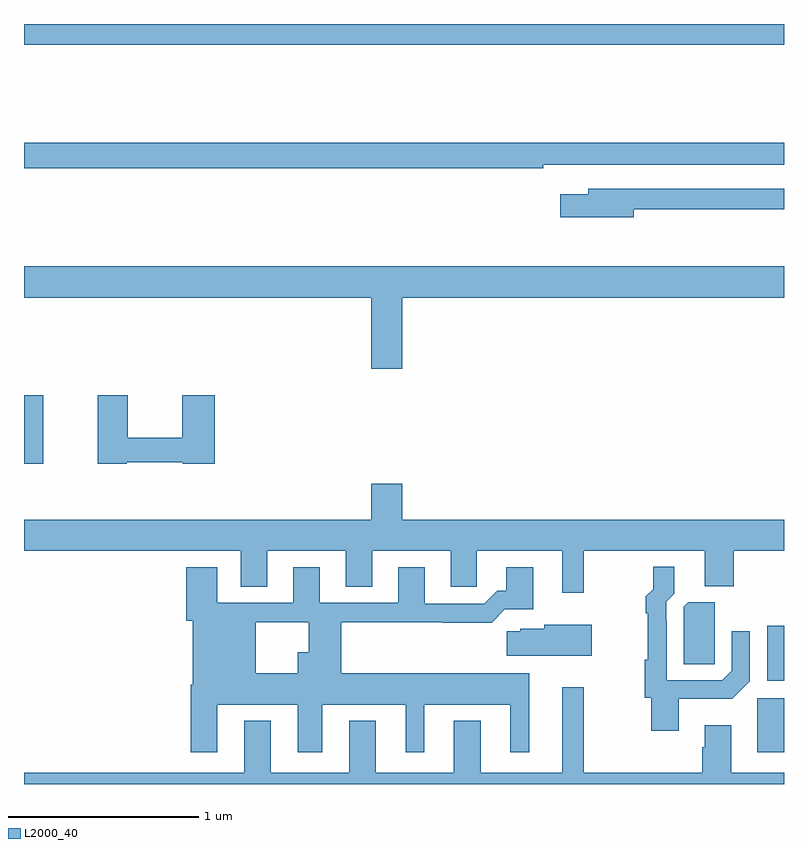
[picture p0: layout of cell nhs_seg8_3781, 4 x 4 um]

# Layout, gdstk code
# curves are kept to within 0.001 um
import gdstk
lib = gdstk.Library(unit=1e-6, precision=1e-09)
def R(c, l, rs):  # rectangles x0, y0, x1, y1
    for r in rs: c.add(gdstk.rectangle(r[:2], r[2:], *l))
def P(c, l, *ps):  # polygons
    for p in ps: c.add(gdstk.Polygon(p, *l))
L2000_40 = (2000, 40)

nhs_seg8_3781 = lib.new_cell('nhs_seg8_3781')
R(nhs_seg8_3781, L2000_40, [(346.859,1154.067,347,1154.352), (346.913,1154.444,347,1154.734), (343,1155.586,343.102,1155.946), (343,1157.792,347,1157.9)])
P(nhs_seg8_3781, L2000_40, [(345.734,1157.16),(347,1157.16),(347,1157.276),(343,1157.276),(343,1157.14),(345.734,1157.14)],
  [(346.21,1156.926),(347,1156.926),(347,1157.034),(345.971,1157.034),(345.971,1157.005),(345.822,1157.005),(345.822,1156.883),(346.21,1156.883)],
  [(344.992,1156.46),(347,1156.46),(347,1156.624),(343,1156.624),(343,1156.46),(344.828,1156.46),(344.828,1156.086),(344.992,1156.086)],
  [(343.542,1155.594),(343.836,1155.594),(343.836,1155.586),(344.003,1155.586),(344.003,1155.946),(343.832,1155.946),(343.832,1155.722),(343.546,1155.722),(343.546,1155.946),(343.388,1155.946),(343.388,1155.586),(343.542,1155.586)],
  [(345.947,1155.128),(346.583,1155.128),(346.583,1154.941),(346.736,1154.941),(346.736,1155.128),(347,1155.128),(347,1155.292),(344.992,1155.292),(344.992,1155.481),(344.828,1155.481),(344.828,1155.292),(343,1155.292),(343,1155.128),(344.141,1155.128),(344.141,1154.938),(344.281,1154.938),(344.281,1155.128),(344.693,1155.128),(344.693,1154.938),(344.833,1154.938),(344.833,1155.128),(345.245,1155.128),(345.245,1154.938),(345.384,1154.938),(345.384,1155.128),(345.833,1155.128),(345.833,1154.907),(345.947,1154.907)],
  [(346.447,1154.348),(346.727,1154.348),(346.821,1154.442),(346.821,1154.704),(346.725,1154.704),(346.725,1154.496),(346.674,1154.445),(346.383,1154.445),(346.383,1154.759),(346.38,1154.759),(346.38,1154.859),(346.423,1154.902),(346.423,1155.043),(346.311,1155.043),(346.311,1154.926),(346.272,1154.888),(346.272,1154.798),(346.282,1154.798),(346.282,1154.555),(346.267,1154.555),(346.267,1154.355),(346.3,1154.355),(346.3,1154.181),(346.447,1154.181)],
  [(343.877,1154.422),(343.877,1154.067),(344.017,1154.067),(344.017,1154.318),(344.441,1154.318),(344.441,1154.067),(344.569,1154.067),(344.569,1154.318),(345.008,1154.318),(345.008,1154.067),(345.106,1154.067),(345.106,1154.318),(345.56,1154.318),(345.56,1154.067),(345.658,1154.067),(345.658,1154.482),(344.669,1154.482),(344.669,1154.752),(345.205,1154.752),(345.205,1154.75),(345.461,1154.75),(345.531,1154.82),(345.679,1154.82),(345.679,1155.04),(345.539,1155.04),(345.539,1154.917),(345.49,1154.917),(345.423,1154.85),(345.109,1154.85),(345.109,1155.04),(344.969,1155.04),(344.969,1154.853),(344.557,1154.853),(344.557,1155.04),(344.417,1155.04),(344.417,1154.853),(344.017,1154.853),(344.017,1155.04),(343.853,1155.04),(343.853,1154.76),(343.889,1154.76),(343.889,1154.482),(344.221,1154.482),(344.221,1154.752),(344.498,1154.752),(344.498,1154.593),(344.441,1154.593),(344.441,1154.482),(343.889,1154.482),(343.889,1154.422)],
  [(346.635,1154.641),(346.636,1154.641),(346.636,1154.856),(346.497,1154.856),(346.473,1154.832),(346.473,1154.53),(346.635,1154.53)],
  [(345.988,1154.737),(345.738,1154.737),(345.738,1154.716),(345.612,1154.716),(345.612,1154.705),(345.54,1154.705),(345.54,1154.576),(345.988,1154.576)],
  [(347,1153.96),(346.723,1153.96),(346.723,1154.209),(346.583,1154.209),(346.583,1154.093),(346.571,1154.093),(346.571,1153.96),(345.947,1153.96),(345.947,1154.41),(345.833,1154.41),(345.833,1153.96),(345.403,1153.96),(345.403,1154.233),(345.263,1154.233),(345.263,1153.96),(344.851,1153.96),(344.851,1154.233),(344.711,1154.233),(344.711,1153.96),(344.299,1153.96),(344.299,1154.233),(344.159,1154.233),(344.159,1153.96),(343,1153.96),(343,1153.9),(347,1153.9)])

lib.write_gds('nhs_seg8_3781.gds')
